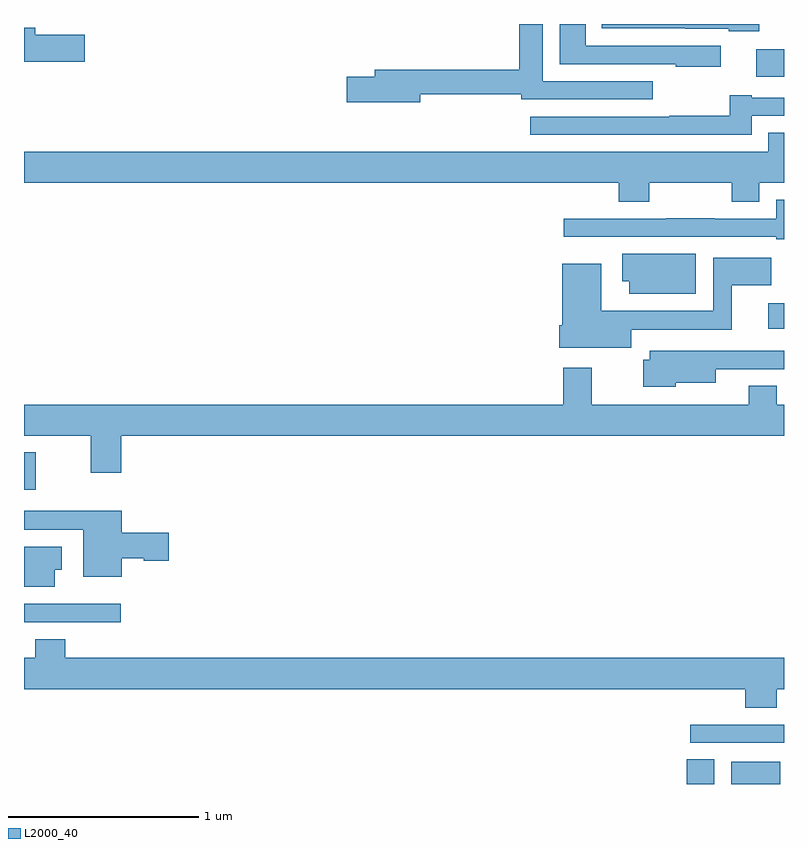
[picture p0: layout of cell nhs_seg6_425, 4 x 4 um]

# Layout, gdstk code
import gdstk
lib = gdstk.Library(unit=1e-6, precision=1e-09)
def R(c, l, rs):  # rectangles x0, y0, x1, y1
    for r in rs: c.add(gdstk.rectangle(r[:2], r[2:], *l))
def P(c, l, *ps):  # polygons
    for p in ps: c.add(gdstk.Polygon(p, *l))
L2000_40 = (2000, 40)

nhs_seg6_425 = lib.new_cell('nhs_seg6_425')
R(nhs_seg6_425, L2000_40, [(138.488,949.5,138.634,949.631), (138.722,949.5,138.979,949.618), (138.507,949.716,139,949.812), (135,951.048,135.063,951.247), (138.918,951.896,139,952.029), (138.855,953.222,139,953.368)])
P(nhs_seg6_425, L2000_40, [(138.667,953.385),(137.956,953.385),(137.956,953.5),(137.819,953.5),(137.819,953.289),(138.431,953.289),(138.431,953.276),(138.667,953.276)],
  [(137.086,953.13),(137.618,953.13),(137.618,953.103),(138.31,953.103),(138.31,953.199),(137.731,953.199),(137.731,953.5),(137.606,953.5),(137.606,953.258),(136.847,953.258),(136.847,953.222),(136.698,953.222),(136.698,953.087),(137.086,953.087)],
  [(138.871,953.5),(138.041,953.5),(138.041,953.478),(138.48,953.478),(138.48,953.474),(138.708,953.474),(138.708,953.463),(138.871,953.463)],
  [(135.319,953.444),(135.058,953.444),(135.058,953.48),(135,953.48),(135,953.302),(135.319,953.302)],
  [(138.829,953.016),(139,953.016),(139,953.112),(138.829,953.112),(138.829,953.125),(138.715,953.125),(138.715,953.018),(138.397,953.018),(138.397,953.013),(137.664,953.013),(137.664,952.917),(138.829,952.917)],
  [(138.291,952.664),(138.724,952.664),(138.724,952.565),(138.871,952.565),(138.871,952.664),(139,952.664),(139,952.927),(138.917,952.927),(138.917,952.828),(135,952.828),(135,952.664),(138.131,952.664),(138.131,952.565),(138.291,952.565)],
  [(139,952.575),(138.959,952.575),(138.959,952.476),(138.635,952.476),(138.635,952.478),(138.379,952.478),(138.379,952.476),(137.841,952.476),(137.841,952.379),(138.089,952.379),(138.089,952.38),(138.959,952.38),(138.959,952.368),(139,952.368)],
  [(138.535,952.291),(138.149,952.291),(138.149,952.145),(138.185,952.145),(138.185,952.079),(138.535,952.079)],
  [(138.196,951.89),(138.725,951.89),(138.725,952.124),(138.934,952.124),(138.934,952.27),(138.627,952.27),(138.627,951.991),(138.037,951.991),(138.037,952.237),(137.834,952.237),(137.834,951.915),(137.816,951.915),(137.816,951.797),(138.196,951.797)],
  [(138.429,951.611),(138.64,951.611),(138.64,951.684),(139,951.684),(139,951.78),(138.536,951.78),(138.536,951.781),(138.293,951.781),(138.293,951.733),(138.26,951.733),(138.26,951.59),(138.429,951.59)],
  [(135.512,951.332),(139,951.332),(139,951.496),(138.963,951.496),(138.963,951.595),(138.815,951.595),(138.815,951.496),(137.989,951.496),(137.989,951.691),(137.837,951.691),(137.837,951.496),(135,951.496),(135,951.332),(135.352,951.332),(135.352,951.138),(135.512,951.138)],
  [(135.514,950.687),(135.63,950.687),(135.63,950.675),(135.763,950.675),(135.763,950.822),(135.514,950.822),(135.514,950.938),(135,950.938),(135,950.837),(135.311,950.837),(135.311,950.591),(135.514,950.591)],
  [(135.163,950.627),(135.199,950.627),(135.199,950.749),(135,950.749),(135,950.537),(135.163,950.537)],
  [(135.508,950.449),(135.259,950.449),(135.259,950.448),(135,950.448),(135,950.352),(135.508,950.352)],
  [(138.962,950),(139,950),(139,950.164),(135.218,950.164),(135.218,950.263),(135.058,950.263),(135.058,950.164),(135,950.164),(135,950),(138.797,950),(138.797,949.901),(138.962,949.901)])

lib.write_gds('nhs_seg6_425.gds')
